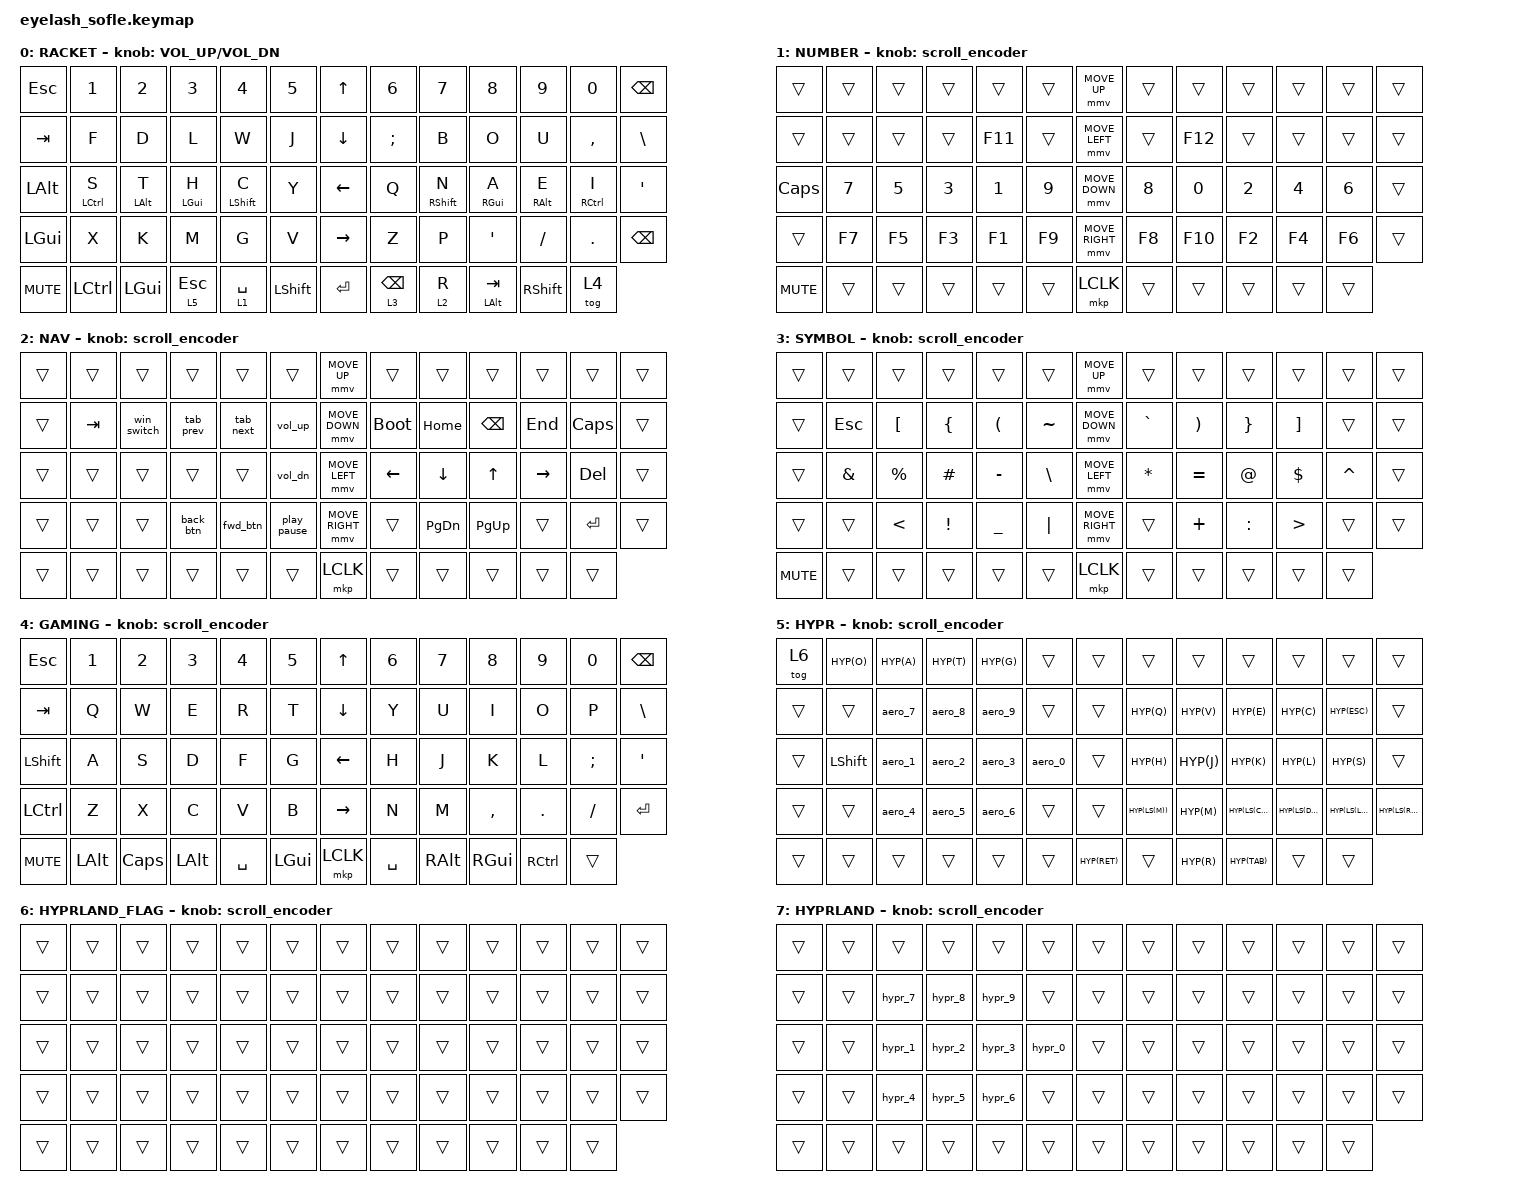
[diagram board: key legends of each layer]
#define ZMK_POINTING_DEFAULT_MOVE_VAL 1200  // 600
#define ZMK_POINTING_DEFAULT_SCRL_VAL 25   // 10

#include <input/processors.dtsi>
#include <zephyr/dt-bindings/input/input-event-codes.h>
#include <behaviors.dtsi>
#include <dt-bindings/zmk/bt.h>
#include <dt-bindings/zmk/ext_power.h>
#include <dt-bindings/zmk/keys.h>
#include <dt-bindings/zmk/pointing.h>
#include <dt-bindings/zmk/rgb.h>
#include <dt-bindings/zmk/outputs.h>

// Include ZMK helpers if available
// #include "zmk-helpers/helper.h"

&mmv_input_listener { input-processors = <&zip_xy_scaler 2 1>; };

&msc_input_listener { input-processors = <&zip_scroll_scaler 2 1>; };

&msc {
    acceleration-exponent = <1>;      // 0
    time-to-max-speed-ms = <100>;       // 300
    delay-ms = <0>;                   // 0
};

&mmv {
    time-to-max-speed-ms = <500>;
    acceleration-exponent = <1>;
    trigger-period-ms = <16>;
};

// Define key positions for your keyboard layout
#define KEYS_L  0 1 2 3 4 5 13 14 15 16 17 18 26 27 28 29 30 31 39 40 41 42 43 44 52 53 54 55 56 57  // Left-hand keys
#define KEYS_R  6 7 8 9 10 11 12 19 20 21 22 23 24 25 32 33 34 35 36 37 38 45 46 47 48 49 50 51 58 59 60 61 62 63  // Right-hand keys  
#define THUMBS  55 56 57 59 60 61  // Thumb keys

// Hyprland mainMod (Ctrl+Alt+Super)
#define HYP(key) LA(LG(LC(key)))

/ {
    behaviors {
        /* Left-hand HRMs. */
        hml: hml {
            compatible = "zmk,behavior-hold-tap";
            label = "LEFT_HOMEROW_MODS";
            #binding-cells = <2>;
            flavor = "balanced";
            tapping-term-ms = <280>;
            quick-tap-ms = <175>;
            require-prior-idle-ms = <150>;
            bindings = <&kp>, <&kp>;
            hold-trigger-key-positions = <KEYS_R THUMBS>;
            hold-trigger-on-release;
        };
        
        /* Right-hand HRMs. */
        hmr: hmr {
            compatible = "zmk,behavior-hold-tap";
            label = "RIGHT_HOMEROW_MODS";
            #binding-cells = <2>;
            flavor = "balanced";
            tapping-term-ms = <280>;
            quick-tap-ms = <175>;
            require-prior-idle-ms = <150>;
            bindings = <&kp>, <&kp>;
            hold-trigger-key-positions = <KEYS_L THUMBS>;
            hold-trigger-on-release;
        };
    };
};

/ {

// Define macros for special key combinations
macros {
    win_switch: win_switch {
        compatible = "zmk,behavior-macro";
        #binding-cells = <0>;
        bindings = <&kp LA(TAB)>;
        label = "WIN_SWITCH";
    };
    
    tab_prev: tab_prev {
        compatible = "zmk,behavior-macro";
        #binding-cells = <0>;
        bindings = <&kp LC(LS(TAB))>;
        label = "TAB_PREV";
    };
    
    tab_next: tab_next {
        compatible = "zmk,behavior-macro";
        #binding-cells = <0>;
        bindings = <&kp LC(TAB)>;
        label = "TAB_NEXT";
    };
    
    vol_up: vol_up {
        compatible = "zmk,behavior-macro";
        #binding-cells = <0>;
        bindings = <&kp C_VOL_UP>;
        label = "VOL_UP";
    };
    
    vol_dn: vol_dn {
        compatible = "zmk,behavior-macro";
        #binding-cells = <0>;
        bindings = <&kp C_VOL_DN>;
        label = "VOL_DN";
    };
    
    back_btn: back_btn {
        compatible = "zmk,behavior-macro";
        #binding-cells = <0>;
        bindings = <&kp C_AC_BACK>;
        label = "BACK_BTN";
    };
    
    fwd_btn: fwd_btn {
        compatible = "zmk,behavior-macro";
        #binding-cells = <0>;
        bindings = <&kp C_AC_FORWARD>;
        label = "FWD_BTN";
    };
    
    play_pause: play_pause {
        compatible = "zmk,behavior-macro";
        #binding-cells = <0>;
        bindings = <&kp C_PP>;
        label = "PLAY_PAUSE";
    };
    
    // Hyprland workspace switching macros
    hypr_1: hypr_1 {
        compatible = "zmk,behavior-macro";
        #binding-cells = <0>;
        bindings = <&kp LG(N1)>;
        label = "AERO_1";
    };
    
    hypr_2: hypr_2 {
        compatible = "zmk,behavior-macro";
        #binding-cells = <0>;
        bindings = <&kp LG(N2)>;
        label = "AERO_2";
    };
    
    hypr_3: hypr_3 {
        compatible = "zmk,behavior-macro";
        #binding-cells = <0>;
        bindings = <&kp LG(N3)>;
        label = "AERO_3";
    };
    
    hypr_4: hypr_4 {
        compatible = "zmk,behavior-macro";
        #binding-cells = <0>;
        bindings = <&kp LG(N4)>;
        label = "AERO_4";
    };
    
    hypr_5: hypr_5 {
        compatible = "zmk,behavior-macro";
        #binding-cells = <0>;
        bindings = <&kp LG(N5)>;
        label = "AERO_5";
    };
    
    hypr_6: hypr_6 {
        compatible = "zmk,behavior-macro";
        #binding-cells = <0>;
        bindings = <&kp LG(N6)>;
        label = "AERO_6";
    };
    
    hypr_7: hypr_7 {
        compatible = "zmk,behavior-macro";
        #binding-cells = <0>;
        bindings = <&kp LG(N7)>;
        label = "AERO_7";
    };
    
    hypr_8: hypr_8 {
        compatible = "zmk,behavior-macro";
        #binding-cells = <0>;
        bindings = <&kp LG(N8)>;
        label = "AERO_8";
    };
    
    hypr_9: hypr_9 {
        compatible = "zmk,behavior-macro";
        #binding-cells = <0>;
        bindings = <&kp LG(N9)>;
        label = "AERO_9";
    };
    
    hypr_0: hypr_0 {
        compatible = "zmk,behavior-macro";
        #binding-cells = <0>;
        bindings = <&kp LG(N0)>;
        label = "AERO_0";
    };

    // Aerospace workspace switching macros (alt-cmd-ctrl prefix)
    aero_1: aero_1 {
        compatible = "zmk,behavior-macro";
        #binding-cells = <0>;
        bindings = <&kp LA(LG(LC(N1)))>;
        label = "AEROSPACE_1";
    };

    aero_2: aero_2 {
        compatible = "zmk,behavior-macro";
        #binding-cells = <0>;
        bindings = <&kp LA(LG(LC(N2)))>;
        label = "AEROSPACE_2";
    };

    aero_3: aero_3 {
        compatible = "zmk,behavior-macro";
        #binding-cells = <0>;
        bindings = <&kp LA(LG(LC(N3)))>;
        label = "AEROSPACE_3";
    };

    aero_4: aero_4 {
        compatible = "zmk,behavior-macro";
        #binding-cells = <0>;
        bindings = <&kp LA(LG(LC(N4)))>;
        label = "AEROSPACE_4";
    };

    aero_5: aero_5 {
        compatible = "zmk,behavior-macro";
        #binding-cells = <0>;
        bindings = <&kp LA(LG(LC(N5)))>;
        label = "AEROSPACE_5";
    };

    aero_6: aero_6 {
        compatible = "zmk,behavior-macro";
        #binding-cells = <0>;
        bindings = <&kp LA(LG(LC(N6)))>;
        label = "AEROSPACE_6";
    };

    aero_7: aero_7 {
        compatible = "zmk,behavior-macro";
        #binding-cells = <0>;
        bindings = <&kp LA(LG(LC(N7)))>;
        label = "AEROSPACE_7";
    };

    aero_8: aero_8 {
        compatible = "zmk,behavior-macro";
        #binding-cells = <0>;
        bindings = <&kp LA(LG(LC(N8)))>;
        label = "AEROSPACE_8";
    };

    aero_9: aero_9 {
        compatible = "zmk,behavior-macro";
        #binding-cells = <0>;
        bindings = <&kp LA(LG(LC(N9)))>;
        label = "AEROSPACE_9";
    };

    aero_0: aero_0 {
        compatible = "zmk,behavior-macro";
        #binding-cells = <0>;
        bindings = <&kp LA(LG(LC(N0)))>;
        label = "AEROSPACE_0";
    };
};

    scroll_encoder: scroll_encoder {
        compatible = "zmk,behavior-sensor-rotate";
        #sensor-binding-cells = <0>;
        bindings = <&msc SCRL_DOWN>, <&msc SCRL_UP>;
        tap-ms = <100>;
    };

    keymap {
        compatible = "zmk,keymap";

        layer0 {
            bindings = <
&kp ESC    &kp N1            &kp N2            &kp N3            &kp N4         &kp N5              &kp UP_ARROW     &kp N6      &kp N7            &kp N8            &kp N9            &kp N0            &kp BACKSPACE
&kp TAB    &kp F             &kp D             &kp L             &kp W          &kp J               &kp DOWN_ARROW   &kp SEMI    &kp B             &kp O             &kp U             &kp COMMA         &kp BSLH
&kp LALT   &hml LCTRL S      &hml LALT T       &hml LGUI H       &hml LSHFT C   &kp Y               &kp LEFT_ARROW   &kp Q       &hmr RSHFT N      &hmr RGUI A       &hmr RALT E       &hmr RCTRL I      &kp APOS
&kp LGUI   &kp X             &kp K             &kp M             &kp G          &kp V               &kp RIGHT_ARROW  &kp Z       &kp P             &kp APOS          &kp SLASH         &kp DOT           &kp BSPC
&kp C_MUTE &kp LCTRL         &kp LEFT_GUI      &lt 5 ESC         &lt 1 SPACE    &kp LSHFT           &kp ENTER        &lt 3 BSPC  &lt 2 R           &mt LALT TAB      &kp RIGHT_SHIFT   &tog 4
            >;

            sensor-bindings = <&inc_dec_kp C_VOLUME_UP C_VOL_DN>;
            display-name = "RACKET";
        };

        layer_1 {
            bindings = <
&trans      &trans           &trans          &trans           &trans           &trans             &mmv MOVE_UP     &trans           &trans           &trans      &trans     &trans   &trans
&trans      &trans           &trans          &trans           &kp F11          &trans             &mmv MOVE_LEFT   &trans           &kp F12          &trans      &trans     &trans   &trans
&kp CAPS    &kp N7           &kp N5          &kp N3           &kp N1           &kp N9             &mmv MOVE_DOWN   &kp N8           &kp N0           &kp N2      &kp N4     &kp N6   &trans
&trans      &kp F7           &kp F5          &kp F3           &kp F1           &kp F9             &mmv MOVE_RIGHT  &kp F8           &kp F10          &kp F2      &kp F4     &kp F6   &trans
&kp C_MUTE  &trans           &trans          &trans           &trans           &trans             &mkp LCLK        &trans           &trans           &trans      &trans     &trans
            >;

            display-name = "NUMBER";
            sensor-bindings = <&scroll_encoder>;
        };

        layer_2 {
            bindings = <
&trans      &trans           &trans          &trans           &trans           &trans             &mmv MOVE_UP     &trans           &trans           &trans      &trans     &trans        &trans
&trans      &kp TAB          &win_switch     &tab_prev        &tab_next        &vol_up            &mmv MOVE_DOWN   &bootloader      &kp HOME         &kp BSPC    &kp END    &kp CAPS      &trans
&trans      &trans           &trans          &trans           &trans           &vol_dn            &mmv MOVE_LEFT   &kp LEFT         &kp DOWN         &kp UP      &kp RIGHT  &kp DEL       &trans
&trans      &trans           &trans          &back_btn        &fwd_btn         &play_pause        &mmv MOVE_RIGHT  &trans           &kp PG_DN        &kp PG_UP   &trans     &kp ENTER     &trans
&trans      &trans           &trans          &trans           &trans           &trans             &mkp LCLK        &trans           &trans           &trans      &trans     &trans
            >;

            display-name = "NAV";
            sensor-bindings = <&scroll_encoder>;
        };

        layer_3 {
            bindings = <
&trans      &trans           &trans          &trans           &trans           &trans             &mmv MOVE_UP     &trans           &trans           &trans      &trans     &trans     &trans
&trans      &kp ESC          &kp LBKT        &kp LBRC         &kp LPAR         &kp TILDE          &mmv MOVE_DOWN   &kp GRAVE        &kp RPAR         &kp RBRC    &kp RBKT   &trans     &trans
&trans      &kp AMPS         &kp PRCNT       &kp HASH         &kp MINUS        &kp BSLH           &mmv MOVE_LEFT   &kp ASTRK        &kp EQUAL        &kp AT      &kp DLLR   &kp CARET  &trans
&trans      &trans           &kp LT          &kp EXCL         &kp UNDER        &kp PIPE           &mmv MOVE_RIGHT  &trans           &kp PLUS         &kp COLON   &kp GT     &trans     &trans
&kp C_MUTE  &trans           &trans          &trans           &trans           &trans             &mkp LCLK        &trans           &trans           &trans      &trans     &trans
            >;

            display-name = "SYMBOL";
            sensor-bindings = <&scroll_encoder>;
        };

        layer_4 {
            bindings = <
&kp ESC     &kp N1           &kp N2          &kp N3           &kp N4           &kp N5             &kp UP_ARROW     &kp N6           &kp N7           &kp N8      &kp N9     &kp N0     &kp BACKSPACE
&kp TAB     &kp Q            &kp W           &kp E            &kp R            &kp T              &kp DOWN_ARROW   &kp Y            &kp U            &kp I       &kp O      &kp P      &kp BSLH
&kp LSHFT   &kp A            &kp S           &kp D            &kp F            &kp G              &kp LEFT_ARROW   &kp H            &kp J            &kp K       &kp L      &kp SEMI   &kp APOS
&kp LCTRL   &kp Z            &kp X           &kp C            &kp V            &kp B              &kp RIGHT_ARROW  &kp N            &kp M            &kp COMMA   &kp DOT    &kp SLASH  &kp ENTER
&kp C_MUTE  &kp LALT         &kp CAPS        &kp LALT         &kp SPACE        &kp LGUI           &mkp LCLK        &kp SPACE        &kp RALT         &kp RGUI    &kp RCTRL  &trans
            >;

            display-name = "GAMING";
            sensor-bindings = <&scroll_encoder>;
        };

        layer_5 {
            bindings = <
&tog 6           &kp HYP(O)       &kp HYP(A)           &kp HYP(T)           &kp HYP(G)           &trans               &trans           &trans               &trans               &trans                   &trans                   &trans                   &trans
&trans           &trans           &aero_7              &aero_8              &aero_9              &trans               &trans           &kp HYP(Q)           &kp HYP(V)           &kp HYP(E)               &kp HYP(C)               &kp HYP(ESC)             &trans
&trans           &kp LSHIFT       &aero_1              &aero_2              &aero_3              &aero_0              &trans           &kp HYP(H)           &kp HYP(J)           &kp HYP(K)               &kp HYP(L)               &kp HYP(S)               &trans
&trans           &trans           &aero_4              &aero_5              &aero_6              &trans               &trans           &kp HYP(LS(M))       &kp HYP(M)           &kp HYP(LS(COMMA))       &kp HYP(LS(DOT))         &kp HYP(LS(LBKT))        &kp HYP(LS(RBKT))
&trans           &trans           &trans               &trans               &trans               &trans               &kp HYP(RET)     &trans               &kp HYP(R)           &kp HYP(TAB)             &trans                   &trans
            >;

            display-name = "HYPR";
            sensor-bindings = <&scroll_encoder>;
        };

        layer_6 {
            bindings = <
&trans           &trans           &trans               &trans               &trans               &trans               &trans           &trans           &trans           &trans           &trans           &trans           &trans
&trans           &trans           &trans               &trans               &trans               &trans               &trans           &trans           &trans           &trans           &trans           &trans           &trans
&trans           &trans           &trans               &trans               &trans               &trans               &trans           &trans           &trans           &trans           &trans           &trans           &trans
&trans           &trans           &trans               &trans               &trans               &trans               &trans           &trans           &trans           &trans           &trans           &trans           &trans
&trans           &trans           &trans               &trans               &trans               &trans               &trans           &trans           &trans           &trans           &trans           &trans
            >;

            display-name = "HYPRLAND_FLAG";
            sensor-bindings = <&scroll_encoder>;
        };

        layer_7 {
            bindings = <
&trans           &trans           &trans               &trans               &trans               &trans               &trans           &trans           &trans           &trans           &trans           &trans           &trans
&trans           &trans           &hypr_7              &hypr_8              &hypr_9              &trans               &trans           &trans           &trans           &trans           &trans           &trans           &trans
&trans           &trans           &hypr_1              &hypr_2              &hypr_3              &hypr_0              &trans           &trans           &trans           &trans           &trans           &trans           &trans
&trans           &trans           &hypr_4              &hypr_5              &hypr_6              &trans               &trans           &trans           &trans           &trans           &trans           &trans           &trans
&trans           &trans           &trans               &trans               &trans               &trans               &trans           &trans           &trans           &trans           &trans           &trans
            >;

            display-name = "HYPRLAND";
            sensor-bindings = <&scroll_encoder>;
        };
    };

    conditional_layers {
        compatible = "zmk,conditional-layers";
        aero_active {
            if-layers = <5 6>;
            then-layer = <7>;
        };
    };
};
